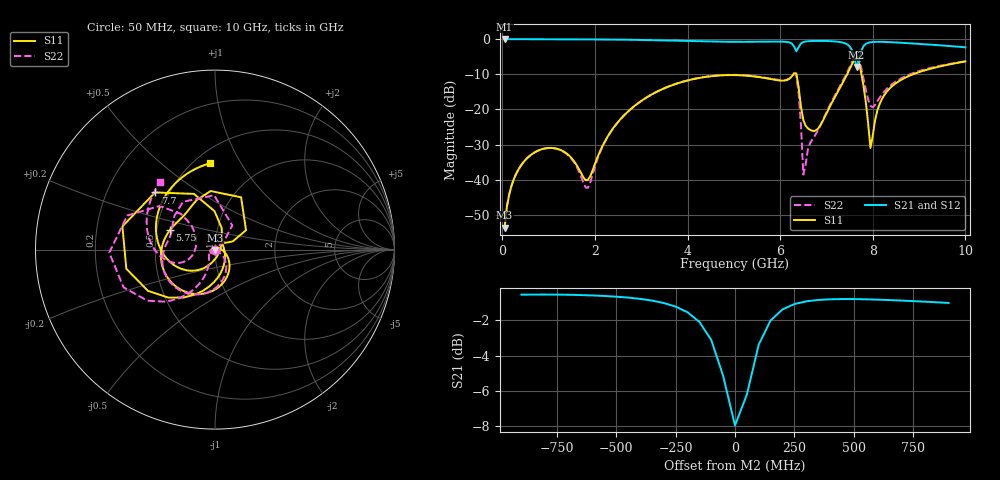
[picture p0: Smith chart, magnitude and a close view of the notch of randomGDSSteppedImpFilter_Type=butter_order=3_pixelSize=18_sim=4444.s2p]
! freq	dB(S11)	phase(S11)	dB(S12)	phase(S12)
!  dB(S21)	phase(S21)	dB(S22)	phase(S22)
!S-par simulation data
#  GHz  S  DB  R 50
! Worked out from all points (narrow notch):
!   200 points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, 50 MHz to 10 GHz, reference 50 ohm
!   highest |S21| = -0.01 dB at 50 MHz (marker M1); lowest = -8.0 dB at 7.65 GHz (marker M2)
!   notch at M2: 7.3 dB deep, 153 MHz wide at half that depth
!   lowest |S11| = -53.6 dB at 50 MHz (marker M3), VSWR 1.00, Z = 50 - j0.21 ohm
!   |S11| at or under -10 dB: start of sweep to 6.284 GHz; 6.353 GHz to 7.447 GHz (1.094 GHz wide, 15.9 % of centre); 7.755 GHz to 8.871 GHz (1.115 GHz wide, 13.4 % of centre)
!   |S22| runs from -53.6 to -4.6 dB; largest |S21 - S12| = 0
!   S11 on the Smith chart (normalised r, x): 50 MHz: 1.00, -0.00; 5.75 GHz: 0.59, +0.14; 7.7 GHz: 0.42, +0.34; 10 GHz: 0.59, +0.74
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0.05  -53.57 -90.8  -0.01 -2.5  -0.01 -2.5  -53.55 -90.3
0.25  -39.77 -103.3  -0.03 -12.2  -0.03 -12.2  -39.76 -100.9
0.7  -32.18 -128.7  -0.05 -34.2  -0.05 -34.2  -32.18 -121.0
1.3  -31.77 -166.9  -0.08 -63.4  -0.08 -63.4  -31.84 -144.0
1.75  -39.24 126.3  -0.10 -85.5  -0.10 -85.5  -40.73 -125.6
2.5  -23.54 -22.0  -0.16 -122.6  -0.16 -122.6  -23.59 -42.0
3.4  -14.57 -74.9  -0.37 -167.6  -0.37 -167.6  -14.56 -80.1
5.05  -10.24 -162.6  -0.79 111.2  -0.79 111.2  -10.18 -153.7
5.75  -11.26 156.7  -0.74 75.4  -0.74 75.4  -11.16 175.9
6.35  -9.75 63.5  -3.46 43.8  -3.46 43.8  -10.38 91.0
6.45  -19.28 24.8  -1.24 48.7  -1.24 48.7  -24.51 39.6
6.5  -22.95 32.4  -0.86 43.7  -0.86 43.7  -38.51 66.0
6.7  -26.08 25.0  -0.55 28.7  -0.55 28.7  -28.42 -152.6
7.2  -16.04 -84.7  -0.70 -4.7  -0.70 -4.7  -15.59 -111.8
7.5  -8.57 -134.1  -2.08 -31.8  -2.08 -31.8  -7.99 -133.2
7.65  -5.48 165.9  -7.97 -26.8  -7.97 -26.8  -4.59 -178.3
7.7  -6.72 136.3  -6.21 -1.5  -6.21 -1.5  -5.61 158.7
7.95  -30.94 -7.0  -0.92 -27.0  -0.92 -27.0  -18.97 157.2
8.1  -20.25 -112.9  -0.79 -39.7  -0.79 -39.7  -17.67 -165.7
8.35  -14.25 -143.4  -0.87 -56.8  -0.87 -56.8  -13.56 -159.5
9.1  -8.97 157.4  -1.46 -101.6  -1.46 -101.6  -8.71 171.9
10  -6.35 93.6  -2.35 -153.1  -2.35 -153.1  -6.32 129.3
